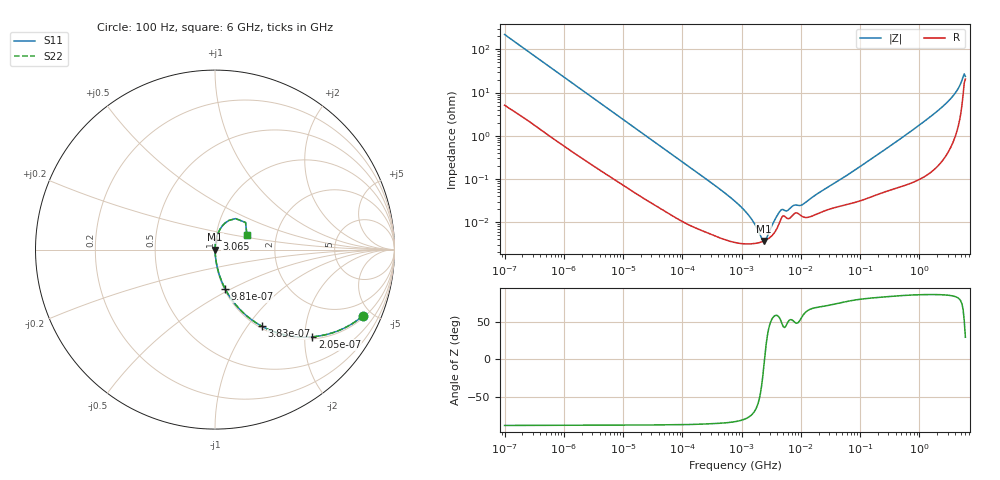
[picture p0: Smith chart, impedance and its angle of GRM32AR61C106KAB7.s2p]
!Murata Part Number: GRM32AR61C106KAB7
!These Parameters are Measured in Series Mode Connection
!Data Generated on Mar 30, 2021
!  o--ll--o
!Port1  Port2
!  o------o
!Operation Temp=25[degC], DC Bias Voltage=0[V]
!Freq. Start=100[Hz] Stop=6[GHz] 401[Steps]
# Hz S RI R 50
!Freq.(Hz) S11(Real) S11(Imag) S21(Real) S21(Imag) S12(Real) S12(Imag) S22(Real) S22(Imag)
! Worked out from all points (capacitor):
!   401 points, 100 Hz to 6 GHz, reference 50 ohm
!   read as one part in series: C = 7.18 uF near 109 Hz
!   lowest |Z| = 3.71 mohm at 2.373 MHz (marker M1)
!   series resonance near 2.439 MHz, so ESL is about 590 pH
!   S11 on the Smith chart (normalised r, x): 100 Hz: 1.10, -4.41; 205 Hz: 1.05, -2.18; 383 Hz: 1.03, -1.18; 981 Hz: 1.01, -0.47; 3.065 GHz: 1.01, +0.12; 6 GHz: 1.41, +0.23
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100  0.8238 -0.3696  0.1762 0.3696  0.1762 0.3696  0.8238 -0.3696
205  0.5416 -0.4861  0.4584 0.4861  0.4584 0.4861  0.5416 -0.4861
383  0.2621 -0.4275  0.7379 0.4275  0.7379 0.4275  0.2621 -0.4275
573  0.1414 -0.3362  0.8586 0.3362  0.8586 0.3362  0.1414 -0.3362
981  0.0565 -0.2185  0.9435 0.2185  0.9435 0.2185  0.0565 -0.2185
2008  0.016 -0.1129  0.984 0.1129  0.984 0.1129  0.016 -0.1129
6433  0.0024 -0.0365  0.9976 0.0365  0.9976 0.0365  0.0024 -0.0365
40335  0.000254 -0.00605  0.9997 0.00605  0.9997 0.00605  0.000254 -0.00605
774597  3.4e-05 -0.000303  1 0.000303  1 0.000303  3.4e-05 -0.000303
1585629  3.19e-05 -9.66e-05  1 9.66e-05  1 9.66e-05  3.19e-05 -9.66e-05
2372521  3.66e-05 -6.1e-06  1 6.1e-06  1 6.1e-06  3.66e-05 -6.1e-06
3245845  4.87e-05 6.7e-05  1 -6.7e-05  1 -6.7e-05  4.87e-05 6.7e-05
4643984  0.00012 0.000149  0.9999 -0.000149  0.9999 -0.000149  0.00012 0.000149
7947587  0.000161 0.00019  0.9998 -0.00019  0.9998 -0.00019  0.000161 0.00019
1.039699e7  0.000138 0.00021  0.9999 -0.00021  0.9999 -0.00021  0.000138 0.00021
1.555665e7  0.000139 0.00035  0.9999 -0.00035  0.9999 -0.00035  0.000139 0.00035
3.124326e8  0.000577 0.00561  0.9994 -0.00561  0.9994 -0.00561  0.000577 0.00561
1.369159e9  0.00184 0.0243  0.9982 -0.0243  0.9982 -0.0243  0.00184 0.0243
3.065283e9  0.00797 0.0616  0.992 -0.0616  0.992 -0.0616  0.00797 0.0616
4.586474e9  0.0321 0.1199  0.9679 -0.1199  0.9679 -0.1199  0.0321 0.1199
5.245841e9  0.0767 0.1623  0.9233 -0.1623  0.9233 -0.1623  0.0767 0.1623
6e9  0.178 0.08  0.822 -0.08  0.822 -0.08  0.178 0.08
